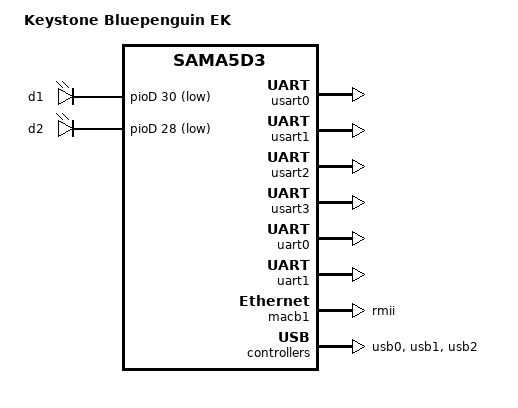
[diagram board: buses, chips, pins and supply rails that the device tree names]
/*
 * kses-bp-ek.dts - Device Tree file for Keystone Bluepenguin EK board
 *
 * Based on sama5d36ek.dtb by  Josh Wu <josh.wu@atmel.com> 
 *   Copyright (C) 2016 Keystone Electronic Solutions,
 *                2016 John Eigelaar <john@kses.net>
 *
 * Licensed under GPLv2 or later.
 */
/dts-v1/;

#include "sama5d36.dtsi"
#include "kses-bp-cm.dtsi"

/ {
	model = "Keystone Bluepenguin EK";
	compatible = "kses,bluepenguin", "atmel,sama5d36ek", "atmel,sama5d3xmb", "atmel,sama5d3xcm", "atmel,sama5d36", "atmel,sama5d3", "atmel,sama5";

    guinnux {
		boardid = "4";
		description = "Guinnux Blue Penguin Evalution Kit";
		dtbname = "kses-bp-ek.dtb";
		net {
		   wan="eth0";
		   usb="usb0";
		};			
	};
	ahb {
		apb {
			
			usart0: serial@f001c000 {
				pinctrl-names = "default";
				pinctrl-0 = <&pinctrl_usart0 &pinctrl_usart0_rts_cts>;
				status = "okay";
			
			};
			
			usart1: serial@f0020000 {
				pinctrl-names = "default";
				pinctrl-0 = <&pinctrl_usart1 &pinctrl_usart1_rts_cts>;
				status = "okay";
			};
			
			usart2: serial@f8020000 {
				pinctrl-names = "default";
				pinctrl-0 = <&pinctrl_usart2 &pinctrl_usart2_rts_cts>;
				status = "okay";
			};
			
			usart3: serial@f8024000 {
				pinctrl-names = "default";
				pinctrl-0 = <&pinctrl_usart3 &pinctrl_usart3_rts_cts>;
				status = "okay";
			};
			
			uart0: serial@f0024000 {
				pinctrl-names = "default";
				status = "okay";
			};
			
			uart1: serial@f8028000 {
				pinctrl-names = "default";
				status = "okay";
			};
			
			macb1: ethernet@f802c000 {
				phy-mode = "rmii";
				status = "okay";			
			};
			
			pinctrl@fffff200 {
				board {
					pinctrl_led_h: led_h {
						atmel,pins =
							<3 30 0x0 0x4>;	/* PD30 GPIO  */
					};
					
					pinctrl_led_sd: led_sd {
						atmel,pins =
							<3 28 0x0 0x4>;	/* PD28 GPIO  */
					};
				};
			};
		};/* APB */
    
     	usb0: gadget@00500000 {
    		atmel,vbus-gpio = <&pioD 29 0>;
	    	pinctrl-names = "default";
		    pinctrl-0 = <&pinctrl_usba_vbus>;
		    status = "okay";
	    };

	    usb1: ohci@00600000 {
		   num-ports = <3>;
		   atmel,vbus-gpio = <&pioD 25 0
	    	    			   &pioD 26 1
		    	    		   &pioD 27 1
			    	    	  >;
		   status = "okay";
		};

	    usb2: ehci@00700000 {
			status = "okay";
	    };
	}; /* AHB */

	leds {
		compatible = "gpio-leds";		

		d1 {
			label = "d1";
			gpios = <&pioD 30 1>;	
			linux,default-trigger = "mmc0";
		};

		d2 {
			label = "d2";
			gpios = <&pioD 28 1>;	
			linux,default-trigger = "heartbeat";
		};
	};
	

};
